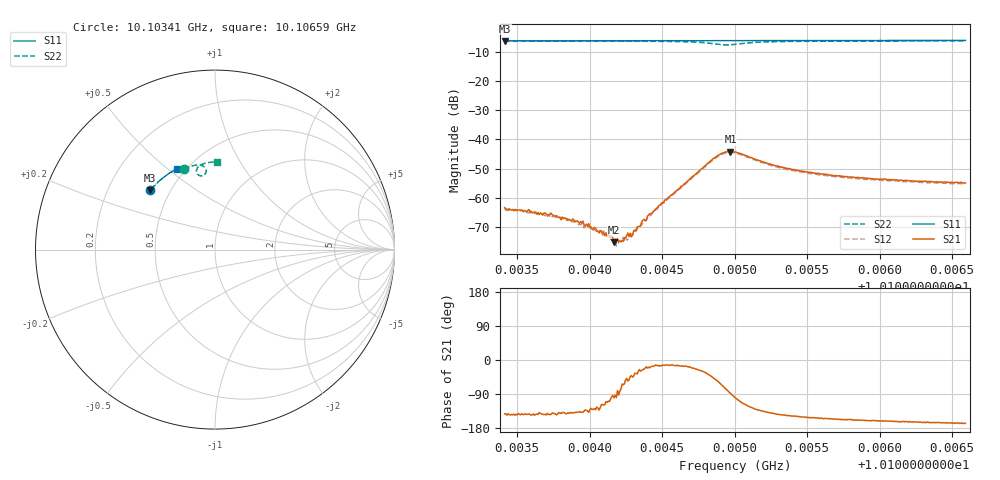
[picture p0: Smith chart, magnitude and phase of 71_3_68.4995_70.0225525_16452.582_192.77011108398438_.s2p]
#  HZ  S  RI  R  50.00
! Rohde & Schwarz Vector Network Analyzer
! Rohde-Schwarz,ZNB20-2Port,1311601062101988,3.16
! Created: UTC 3/20/2024, 4:51:45 PM
! freq[Hz]  re:S11  im:S11  re:S21  im:S21  re:S12  im:S12  re:S22  im:S22
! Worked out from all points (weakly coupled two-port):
!   401 points, 10.10341 GHz to 10.10659 GHz, reference 50 ohm
!   highest |S21| = -44.14 dB at 10.10497 GHz (marker M1); lowest = -75.2 dB at 10.10417 GHz (marker M2)
!   lowest |S11| = -6.2 dB at 10.10341 GHz (marker M3), VSWR 2.92, Z = 19.4 + j16.8 ohm
!   |S11| at or under -10 dB: nowhere
!   |S22| runs from -7.6 to -6.2 dB; largest |S21 - S12| = 0.00062
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1.0103415e10  -0.3621 0.3294  -0.000532 -0.000417  -0.000457 -0.00042  -0.1728 0.45
1.0103478e10  -0.3596 0.3324  -0.00048 -0.00036  -0.000467 -0.00041  -0.1687 0.4518
1.0103748e10  -0.3488 0.3449  -0.000384 -0.000325  -0.000352 -0.000315  -0.1514 0.4584
1.0103836e10  -0.3453 0.3489  -0.000346 -0.000274  -0.000342 -0.000286  -0.1455 0.4605
1.0103947e10  -0.3406 0.3538  -0.000275 -0.000252  -0.000241 -0.000273  -0.1377 0.4629
1.0104113e10  -0.3335 0.3611  -8.52e-05 -0.000237  -8.94e-05 -0.000216  -0.1255 0.4664
1.0104169e10  -0.3311 0.3635  -2.94e-05 -0.000171  3.77e-06 -0.000188  -0.1215 0.4674
1.0104201e10  -0.3297 0.3648  -7.01e-06 -0.000176  3.92e-05 -0.000173  -0.119 0.4678
1.0104217e10  -0.3291 0.3655  4.07e-05 -0.000171  6.12e-05 -0.00017  -0.1177 0.4683
1.0104264e10  -0.3269 0.3674  0.00014 -0.000205  0.000148 -0.000125  -0.1138 0.4692
1.0104288e10  -0.3259 0.3686  0.000162 -0.00014  0.000179 -0.000157  -0.1119 0.4694
1.0104391e10  -0.3213 0.3729  0.000387 -0.000124  0.000407 -0.000116  -0.1029 0.4708
1.0104479e10  -0.3173 0.3766  0.000706 -0.000204  0.000695 -7.43e-05  -0.0943 0.4713
1.0104852e10  -0.3002 0.3913  0.0032 -0.00337  0.00335 -0.0029  -0.0494 0.4356
1.0104916e10  -0.2972 0.3935  0.00226 -0.00537  0.00262 -0.00496  -0.0606 0.4155
1.0104971e10  -0.2949 0.3955  0.00023 -0.00621  0.000731 -0.00594  -0.0822 0.4112
1.0105003e10  -0.2935 0.3968  -0.000977 -0.00602  -0.000414 -0.00582  -0.0929 0.4164
1.0105281e10  -0.2803 0.4074  -0.0028 -0.0022  -0.00251 -0.00234  -0.0883 0.4664
1.0105535e10  -0.2679 0.4165  -0.0024 -0.00126  -0.00218 -0.00139  -0.0652 0.4781
1.0105773e10  -0.2558 0.4247  -0.00215 -0.000888  -0.00194 -0.00101  -0.0463 0.4831
1.0106067e10  -0.2409 0.4341  -0.00195 -0.000653  -0.0018 -0.000787  -0.0252 0.4865
1.0106591e10  -0.2131 0.4496  -0.00175 -0.000398  -0.00164 -0.000552  0.0107 0.489
